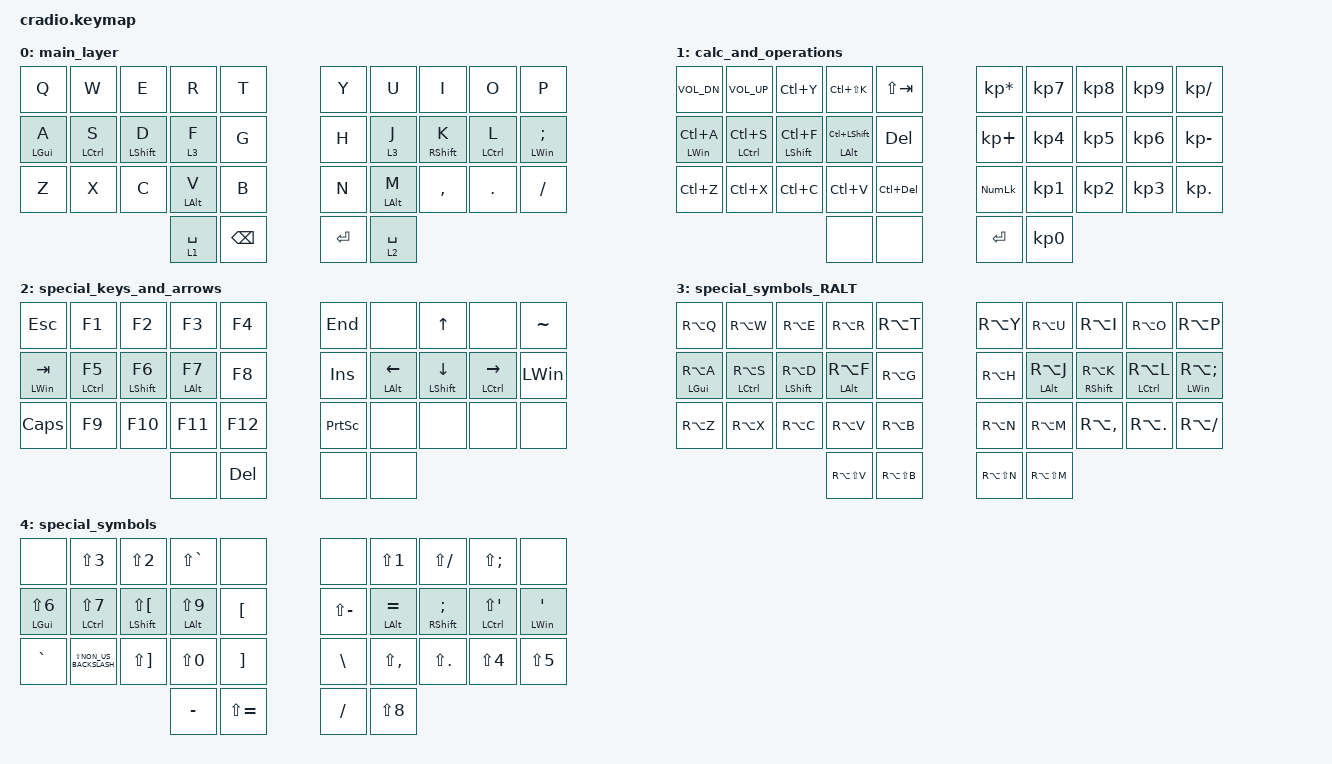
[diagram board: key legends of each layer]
// Copyright (c) 2022 The ZMK Contributors
// SPDX-License-Identifier: MIT

#include <behaviors.dtsi>
#include <dt-bindings/zmk/keys.h>

/ {
    behaviors {
        ht: hold_tap {
            compatible = "zmk,behavior-hold-tap";
            #binding-cells = <2>;
            flavor = "tap-preferred";
            tapping-term-ms = <220>;
            quick-tap-ms = <150>;
            require-prior-idle-ms = <100>;
            bindings = <&kp>, <&kp>;
        };

        hrm: hrm {
            compatible = "zmk,behavior-hold-tap";
            #binding-cells = <2>;
            flavor = "tap-preferred";
            tapping-term-ms = <200>;
            quick-tap-ms = <200>;
            require-prior-idle-ms = <125>;
            bindings = <&kp>, <&kp>;
        };
    };

    conditional_layers { compatible = "zmk,conditional-layers"; };

    combos {
        compatible = "zmk,combos";

        left_bracket {
            bindings = <&kp LEFT_BRACKET>;
            key-positions = <8 9>;
        };

        single_quote {
            bindings = <&kp SINGLE_QUOTE>;
            key-positions = <18 19>;
        };
    };

    keymap {
        compatible = "zmk,keymap";

        main_layer {
            bindings = <
&kp Q        &kp W         &kp E          &kp R        &kp T            &kp Y      &kp U        &kp I          &kp O         &kp P
&hrm LGUI A  &hrm LCTRL S  &hrm LSHIFT D  &lt 3 F      &kp G            &kp H      &lt 3 J      &hrm RSHIFT K  &hrm LCTRL L  &hrm LWIN SEMICOLON
&kp Z        &kp X         &kp C          &hrm LALT V  &kp B            &kp N      &hrm LALT M  &kp COMMA      &kp DOT       &kp FSLH
                                          &lt 1 SPACE  &kp BACKSPACE    &kp ENTER  &lt 2 SPACE
            >;
        };

        calc_and_operations {
            bindings = <
&kp C_VOL_DN         &kp C_VOL_UP      &kp LC(Y)          &kp LC(LS(K))             &kp LS(TAB)       &kp KP_MULTIPLY  &kp KP_NUMBER_7  &kp KP_NUMBER_8  &kp KP_NUMBER_9  &kp KP_DIVIDE
&hrm LEFT_WIN LC(A)  &hrm LCTRL LC(S)  &hrm LSHIFT LC(F)  &hrm LEFT_ALT LC(LSHIFT)  &kp DELETE        &kp KP_PLUS      &kp KP_NUMBER_4  &kp KP_NUMBER_5  &kp KP_NUMBER_6  &kp KP_MINUS
&kp LC(Z)            &kp LC(X)         &kp LC(C)          &kp LC(V)                 &kp LC(DELETE)    &kp KP_NUM       &kp KP_NUMBER_1  &kp KP_NUMBER_2  &kp KP_NUMBER_3  &kp KP_DOT
                                                          &none                     &none             &kp ENTER        &kp KP_NUMBER_0
            >;
        };

        special_keys_and_arrows {
            bindings = <
&kp ESC        &kp F1         &kp F2          &kp F3        &kp F4        &kp END    &none                 &kp UP_ARROW            &none                   &kp TILDE
&hrm LWIN TAB  &hrm LCTRL F5  &hrm LSHIFT F6  &hrm LALT F7  &kp F8        &kp INS    &hrm LALT LEFT_ARROW  &hrm LSHIFT DOWN_ARROW  &hrm LCTRL RIGHT_ARROW  &kp LEFT_WIN
&kp CAPS       &kp F9         &kp F10         &kp F11       &kp F12       &kp PSCRN  &none                 &none                   &none                   &none
                                              &none         &kp DELETE    &none      &none
            >;
        };

        special_symbols_RALT {
            bindings = <
&kp RA(Q)        &kp RA(W)         &kp RA(E)          &kp RA(R)        &kp RA(T)        &kp RA(Y)      &kp RA(U)        &kp RA(I)          &kp RA(O)         &kp RA(P)
&hrm LGUI RA(A)  &hrm LCTRL RA(S)  &hrm LSHIFT RA(D)  &hrm LALT RA(F)  &kp RA(G)        &kp RA(H)      &hrm LALT RA(J)  &hrm RSHIFT RA(K)  &hrm LCTRL RA(L)  &hrm LWIN RA(SEMICOLON)
&kp RA(Z)        &kp RA(X)         &kp RA(C)          &kp RA(V)        &kp RA(B)        &kp RA(N)      &kp RA(M)        &kp RA(COMMA)      &kp RA(DOT)       &kp RA(FSLH)
                                                      &kp RA(LS(V))    &kp RA(LS(B))    &kp RA(LS(N))  &kp RA(LS(M))
            >;
        };

        special_symbols {
            bindings = <
&none                   &kp LS(NUMBER_3)          &kp LS(NUMBER_2)              &kp LS(GRAVE)     &none                &none          &kp LS(NUMBER_1)  &kp LS(SLASH)          &kp LS(SEMICOLON)   &none
&hrm LGUI LS(NUMBER_6)  &hrm LCTRL LS(N7)         &hrm LSHIFT LS(LEFT_BRACKET)  &hrm LALT LS(N9)  &kp LEFT_BRACKET     &kp LS(MINUS)  &hrm LALT EQUAL   &hrm RSHIFT SEMICOLON  &hrm LCTRL LS(SQT)  &hrm LWIN SQT
&kp GRAVE               &kp LS(NON_US_BACKSLASH)  &kp LS(RIGHT_BRACKET)         &kp LS(N0)        &kp RIGHT_BRACKET    &kp BACKSLASH  &kp LS(COMMA)     &kp LS(PERIOD)         &kp LS(N4)          &kp LS(N5)
                                                                                &kp MINUS         &kp LS(EQUAL)        &kp SLASH      &kp LS(N8)
            >;
        };
    };
};
